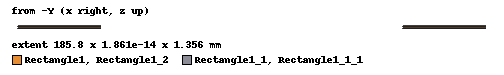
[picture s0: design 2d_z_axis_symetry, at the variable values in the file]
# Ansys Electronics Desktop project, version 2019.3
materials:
  vacuum: permittivity=1
  ferrite: permittivity=12 permeability=1000 conductivity=0.01
  copper: permeability=0.999991 conductivity=58000000

design 2d_z_axis_symetry (Maxwell 2D, EddyCurrent, about Z geometry, model units mm)
options: Multiplier=1
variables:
  conductor_height = 9mil
  paralleling = 9
  turn = 16
  r_inner = 60mm
  oz = 1.4mil
  PCB_number = 5
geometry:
  Rectangle1 [copper] = rectangle(corner=(r_inner, 0mm, 0mm), z_size=2*oz*PCB_number, x_size=conductor_height*paralleling*turn)
  Rectangle1_1 [ferrite] = Rectangle1.duplicate_along_line(step=(0mm, 0mm, -1mm), total=2)
  Rectangle1_2 [copper] = Rectangle1.duplicate_around_axis(axis=Z, angle=180deg, total=2)
  Rectangle1_1_1 [ferrite] = Rectangle1_1.duplicate_around_axis(axis=Z, angle=180deg, total=2)
  Rectangle2 [copper] = rectangle(corner=(-1mm, 0mm, 0mm), z_size=2*oz, x_size=conductor_height)
  Rectangle2_1..Rectangle2_127, Rectangle2_162..Rectangle2_199 [copper] = Rectangle2.duplicate_along_line(step=(-2*conductor_height, 0mm, 0mm), total=200)  # copies kept: 1..127, 162..199
  Rectangle2_200 [copper] = Rectangle2.duplicate_around_axis(axis=Z, angle=180deg, total=2)
  Rectangle2_1_1 [copper] = Rectangle2_1.duplicate_around_axis(axis=Z, angle=180deg, total=2)
  Rectangle2_2_1 [copper] = Rectangle2_2.duplicate_around_axis(axis=Z, angle=180deg, total=2)
  Rectangle2_3_1 [copper] = Rectangle2_3.duplicate_around_axis(axis=Z, angle=180deg, total=2)
  Rectangle2_4_1 [copper] = Rectangle2_4.duplicate_around_axis(axis=Z, angle=180deg, total=2)
  Rectangle2_5_1 [copper] = Rectangle2_5.duplicate_around_axis(axis=Z, angle=180deg, total=2)
  Rectangle2_6_1 [copper] = Rectangle2_6.duplicate_around_axis(axis=Z, angle=180deg, total=2)
  Rectangle2_7_1 [copper] = Rectangle2_7.duplicate_around_axis(axis=Z, angle=180deg, total=2)
  Rectangle2_8_1 [copper] = Rectangle2_8.duplicate_around_axis(axis=Z, angle=180deg, total=2)
  Rectangle2_9_1 [copper] = Rectangle2_9.duplicate_around_axis(axis=Z, angle=180deg, total=2)
  Rectangle2_10_1 [copper] = Rectangle2_10.duplicate_around_axis(axis=Z, angle=180deg, total=2)
  Rectangle2_11_1 [copper] = Rectangle2_11.duplicate_around_axis(axis=Z, angle=180deg, total=2)
  Rectangle2_12_1 [copper] = Rectangle2_12.duplicate_around_axis(axis=Z, angle=180deg, total=2)
  Rectangle2_13_1 [copper] = Rectangle2_13.duplicate_around_axis(axis=Z, angle=180deg, total=2)
  Rectangle2_14_1 [copper] = Rectangle2_14.duplicate_around_axis(axis=Z, angle=180deg, total=2)
  Rectangle2_15_1 [copper] = Rectangle2_15.duplicate_around_axis(axis=Z, angle=180deg, total=2)
  Rectangle2_16_1 [copper] = Rectangle2_16.duplicate_around_axis(axis=Z, angle=180deg, total=2)
  Rectangle2_17_1 [copper] = Rectangle2_17.duplicate_around_axis(axis=Z, angle=180deg, total=2)
  Rectangle2_18_1 [copper] = Rectangle2_18.duplicate_around_axis(axis=Z, angle=180deg, total=2)
  Rectangle2_19_1 [copper] = Rectangle2_19.duplicate_around_axis(axis=Z, angle=180deg, total=2)
  Rectangle2_20_1 [copper] = Rectangle2_20.duplicate_around_axis(axis=Z, angle=180deg, total=2)
  Rectangle2_21_1 [copper] = Rectangle2_21.duplicate_around_axis(axis=Z, angle=180deg, total=2)
  Rectangle2_22_1 [copper] = Rectangle2_22.duplicate_around_axis(axis=Z, angle=180deg, total=2)
  Rectangle2_23_1 [copper] = Rectangle2_23.duplicate_around_axis(axis=Z, angle=180deg, total=2)
  Rectangle2_24_1 [copper] = Rectangle2_24.duplicate_around_axis(axis=Z, angle=180deg, total=2)
  Rectangle2_25_1 [copper] = Rectangle2_25.duplicate_around_axis(axis=Z, angle=180deg, total=2)
  Rectangle2_26_1 [copper] = Rectangle2_26.duplicate_around_axis(axis=Z, angle=180deg, total=2)
  Rectangle2_27_1 [copper] = Rectangle2_27.duplicate_around_axis(axis=Z, angle=180deg, total=2)
  Rectangle2_28_1 [copper] = Rectangle2_28.duplicate_around_axis(axis=Z, angle=180deg, total=2)
  Rectangle2_29_1 [copper] = Rectangle2_29.duplicate_around_axis(axis=Z, angle=180deg, total=2)
  Rectangle2_30_1 [copper] = Rectangle2_30.duplicate_around_axis(axis=Z, angle=180deg, total=2)
  Rectangle2_31_1 [copper] = Rectangle2_31.duplicate_around_axis(axis=Z, angle=180deg, total=2)
  Rectangle2_32_1 [copper] = Rectangle2_32.duplicate_around_axis(axis=Z, angle=180deg, total=2)
  Rectangle2_33_1 [copper] = Rectangle2_33.duplicate_around_axis(axis=Z, angle=180deg, total=2)
  Rectangle2_34_1 [copper] = Rectangle2_34.duplicate_around_axis(axis=Z, angle=180deg, total=2)
  Rectangle2_35_1 [copper] = Rectangle2_35.duplicate_around_axis(axis=Z, angle=180deg, total=2)
  Rectangle2_36_1 [copper] = Rectangle2_36.duplicate_around_axis(axis=Z, angle=180deg, total=2)
  Rectangle2_37_1 [copper] = Rectangle2_37.duplicate_around_axis(axis=Z, angle=180deg, total=2)
  Rectangle2_38_1 [copper] = Rectangle2_38.duplicate_around_axis(axis=Z, angle=180deg, total=2)
  Rectangle2_39_1 [copper] = Rectangle2_39.duplicate_around_axis(axis=Z, angle=180deg, total=2)
  Rectangle2_40_1 [copper] = Rectangle2_40.duplicate_around_axis(axis=Z, angle=180deg, total=2)
  Rectangle2_41_1 [copper] = Rectangle2_41.duplicate_around_axis(axis=Z, angle=180deg, total=2)
  Rectangle2_42_1 [copper] = Rectangle2_42.duplicate_around_axis(axis=Z, angle=180deg, total=2)
  Rectangle2_43_1 [copper] = Rectangle2_43.duplicate_around_axis(axis=Z, angle=180deg, total=2)
  Rectangle2_44_1 [copper] = Rectangle2_44.duplicate_around_axis(axis=Z, angle=180deg, total=2)
  Rectangle2_45_1 [copper] = Rectangle2_45.duplicate_around_axis(axis=Z, angle=180deg, total=2)
  Rectangle2_46_1 [copper] = Rectangle2_46.duplicate_around_axis(axis=Z, angle=180deg, total=2)
  Rectangle2_47_1 [copper] = Rectangle2_47.duplicate_around_axis(axis=Z, angle=180deg, total=2)
  Rectangle2_48_1 [copper] = Rectangle2_48.duplicate_around_axis(axis=Z, angle=180deg, total=2)
  Rectangle2_49_1 [copper] = Rectangle2_49.duplicate_around_axis(axis=Z, angle=180deg, total=2)
  Rectangle2_50_1 [copper] = Rectangle2_50.duplicate_around_axis(axis=Z, angle=180deg, total=2)
  Rectangle2_51_1 [copper] = Rectangle2_51.duplicate_around_axis(axis=Z, angle=180deg, total=2)
  Rectangle2_52_1 [copper] = Rectangle2_52.duplicate_around_axis(axis=Z, angle=180deg, total=2)
  Rectangle2_53_1 [copper] = Rectangle2_53.duplicate_around_axis(axis=Z, angle=180deg, total=2)
  Rectangle2_54_1 [copper] = Rectangle2_54.duplicate_around_axis(axis=Z, angle=180deg, total=2)
  Rectangle2_55_1 [copper] = Rectangle2_55.duplicate_around_axis(axis=Z, angle=180deg, total=2)
  Rectangle2_56_1 [copper] = Rectangle2_56.duplicate_around_axis(axis=Z, angle=180deg, total=2)
  Rectangle2_57_1 [copper] = Rectangle2_57.duplicate_around_axis(axis=Z, angle=180deg, total=2)
  Rectangle2_58_1 [copper] = Rectangle2_58.duplicate_around_axis(axis=Z, angle=180deg, total=2)
  Rectangle2_59_1 [copper] = Rectangle2_59.duplicate_around_axis(axis=Z, angle=180deg, total=2)
  Rectangle2_60_1 [copper] = Rectangle2_60.duplicate_around_axis(axis=Z, angle=180deg, total=2)
  Rectangle2_61_1 [copper] = Rectangle2_61.duplicate_around_axis(axis=Z, angle=180deg, total=2)
  Rectangle2_62_1 [copper] = Rectangle2_62.duplicate_around_axis(axis=Z, angle=180deg, total=2)
  Rectangle2_63_1 [copper] = Rectangle2_63.duplicate_around_axis(axis=Z, angle=180deg, total=2)
  Rectangle2_64_1 [copper] = Rectangle2_64.duplicate_around_axis(axis=Z, angle=180deg, total=2)
  Rectangle2_65_1 [copper] = Rectangle2_65.duplicate_around_axis(axis=Z, angle=180deg, total=2)
  Rectangle2_66_1 [copper] = Rectangle2_66.duplicate_around_axis(axis=Z, angle=180deg, total=2)
  Rectangle2_67_1 [copper] = Rectangle2_67.duplicate_around_axis(axis=Z, angle=180deg, total=2)
  Rectangle2_68_1 [copper] = Rectangle2_68.duplicate_around_axis(axis=Z, angle=180deg, total=2)
  Rectangle2_69_1 [copper] = Rectangle2_69.duplicate_around_axis(axis=Z, angle=180deg, total=2)
  Rectangle2_70_1 [copper] = Rectangle2_70.duplicate_around_axis(axis=Z, angle=180deg, total=2)
  Rectangle2_71_1 [copper] = Rectangle2_71.duplicate_around_axis(axis=Z, angle=180deg, total=2)
  Rectangle2_72_1 [copper] = Rectangle2_72.duplicate_around_axis(axis=Z, angle=180deg, total=2)
  Rectangle2_73_1 [copper] = Rectangle2_73.duplicate_around_axis(axis=Z, angle=180deg, total=2)
  Rectangle2_74_1 [copper] = Rectangle2_74.duplicate_around_axis(axis=Z, angle=180deg, total=2)
  Rectangle2_75_1 [copper] = Rectangle2_75.duplicate_around_axis(axis=Z, angle=180deg, total=2)
  Rectangle2_76_1 [copper] = Rectangle2_76.duplicate_around_axis(axis=Z, angle=180deg, total=2)
  Rectangle2_77_1 [copper] = Rectangle2_77.duplicate_around_axis(axis=Z, angle=180deg, total=2)
  Rectangle2_78_1 [copper] = Rectangle2_78.duplicate_around_axis(axis=Z, angle=180deg, total=2)
  Rectangle2_79_1 [copper] = Rectangle2_79.duplicate_around_axis(axis=Z, angle=180deg, total=2)
  Rectangle2_80_1 [copper] = Rectangle2_80.duplicate_around_axis(axis=Z, angle=180deg, total=2)
  Rectangle2_81_1 [copper] = Rectangle2_81.duplicate_around_axis(axis=Z, angle=180deg, total=2)
  Rectangle2_82_1 [copper] = Rectangle2_82.duplicate_around_axis(axis=Z, angle=180deg, total=2)
  Rectangle2_83_1 [copper] = Rectangle2_83.duplicate_around_axis(axis=Z, angle=180deg, total=2)
  Rectangle2_84_1 [copper] = Rectangle2_84.duplicate_around_axis(axis=Z, angle=180deg, total=2)
  Rectangle2_85_1 [copper] = Rectangle2_85.duplicate_around_axis(axis=Z, angle=180deg, total=2)
  Rectangle2_86_1 [copper] = Rectangle2_86.duplicate_around_axis(axis=Z, angle=180deg, total=2)
  Rectangle2_87_1 [copper] = Rectangle2_87.duplicate_around_axis(axis=Z, angle=180deg, total=2)
  Rectangle2_88_1 [copper] = Rectangle2_88.duplicate_around_axis(axis=Z, angle=180deg, total=2)
  Rectangle2_89_1 [copper] = Rectangle2_89.duplicate_around_axis(axis=Z, angle=180deg, total=2)
  Rectangle2_90_1 [copper] = Rectangle2_90.duplicate_around_axis(axis=Z, angle=180deg, total=2)
  Rectangle2_91_1 [copper] = Rectangle2_91.duplicate_around_axis(axis=Z, angle=180deg, total=2)
  Rectangle2_92_1 [copper] = Rectangle2_92.duplicate_around_axis(axis=Z, angle=180deg, total=2)
  Rectangle2_93_1 [copper] = Rectangle2_93.duplicate_around_axis(axis=Z, angle=180deg, total=2)
  Rectangle2_94_1 [copper] = Rectangle2_94.duplicate_around_axis(axis=Z, angle=180deg, total=2)
  Rectangle2_95_1 [copper] = Rectangle2_95.duplicate_around_axis(axis=Z, angle=180deg, total=2)
  Rectangle2_96_1 [copper] = Rectangle2_96.duplicate_around_axis(axis=Z, angle=180deg, total=2)
  Rectangle2_97_1 [copper] = Rectangle2_97.duplicate_around_axis(axis=Z, angle=180deg, total=2)
  Rectangle2_98_1 [copper] = Rectangle2_98.duplicate_around_axis(axis=Z, angle=180deg, total=2)
  Rectangle2_99_1 [copper] = Rectangle2_99.duplicate_around_axis(axis=Z, angle=180deg, total=2)
  Rectangle2_100_1 [copper] = Rectangle2_100.duplicate_around_axis(axis=Z, angle=180deg, total=2)
  Rectangle2_101_1 [copper] = Rectangle2_101.duplicate_around_axis(axis=Z, angle=180deg, total=2)
  Rectangle2_102_1 [copper] = Rectangle2_102.duplicate_around_axis(axis=Z, angle=180deg, total=2)
  Rectangle2_103_1 [copper] = Rectangle2_103.duplicate_around_axis(axis=Z, angle=180deg, total=2)
  Rectangle2_104_1 [copper] = Rectangle2_104.duplicate_around_axis(axis=Z, angle=180deg, total=2)
  Rectangle2_105_1 [copper] = Rectangle2_105.duplicate_around_axis(axis=Z, angle=180deg, total=2)
  Rectangle2_106_1 [copper] = Rectangle2_106.duplicate_around_axis(axis=Z, angle=180deg, total=2)
  Rectangle2_107_1 [copper] = Rectangle2_107.duplicate_around_axis(axis=Z, angle=180deg, total=2)
  Rectangle2_108_1 [copper] = Rectangle2_108.duplicate_around_axis(axis=Z, angle=180deg, total=2)
  Rectangle2_109_1 [copper] = Rectangle2_109.duplicate_around_axis(axis=Z, angle=180deg, total=2)
  Rectangle2_110_1 [copper] = Rectangle2_110.duplicate_around_axis(axis=Z, angle=180deg, total=2)
  Rectangle2_111_1 [copper] = Rectangle2_111.duplicate_around_axis(axis=Z, angle=180deg, total=2)
  Rectangle2_112_1 [copper] = Rectangle2_112.duplicate_around_axis(axis=Z, angle=180deg, total=2)
  Rectangle2_113_1 [copper] = Rectangle2_113.duplicate_around_axis(axis=Z, angle=180deg, total=2)
  Rectangle2_114_1 [copper] = Rectangle2_114.duplicate_around_axis(axis=Z, angle=180deg, total=2)
  Rectangle2_115_1 [copper] = Rectangle2_115.duplicate_around_axis(axis=Z, angle=180deg, total=2)
  Rectangle2_116_1 [copper] = Rectangle2_116.duplicate_around_axis(axis=Z, angle=180deg, total=2)
  Rectangle2_117_1 [copper] = Rectangle2_117.duplicate_around_axis(axis=Z, angle=180deg, total=2)
  Rectangle2_118_1 [copper] = Rectangle2_118.duplicate_around_axis(axis=Z, angle=180deg, total=2)
  Rectangle2_119_1 [copper] = Rectangle2_119.duplicate_around_axis(axis=Z, angle=180deg, total=2)
  Rectangle2_120_1 [copper] = Rectangle2_120.duplicate_around_axis(axis=Z, angle=180deg, total=2)
  Rectangle2_121_1 [copper] = Rectangle2_121.duplicate_around_axis(axis=Z, angle=180deg, total=2)
  Rectangle2_122_1 [copper] = Rectangle2_122.duplicate_around_axis(axis=Z, angle=180deg, total=2)
  Rectangle2_123_1 [copper] = Rectangle2_123.duplicate_around_axis(axis=Z, angle=180deg, total=2)
  Rectangle2_124_1 [copper] = Rectangle2_124.duplicate_around_axis(axis=Z, angle=180deg, total=2)
  Rectangle2_125_1 [copper] = Rectangle2_125.duplicate_around_axis(axis=Z, angle=180deg, total=2)
  Rectangle2_126_1 [copper] = Rectangle2_126.duplicate_around_axis(axis=Z, angle=180deg, total=2)
  Rectangle2_127_1 [copper] = Rectangle2_127.duplicate_around_axis(axis=Z, angle=180deg, total=2)
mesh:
  initial mesh: MeshMethod=AnsoftTAU
